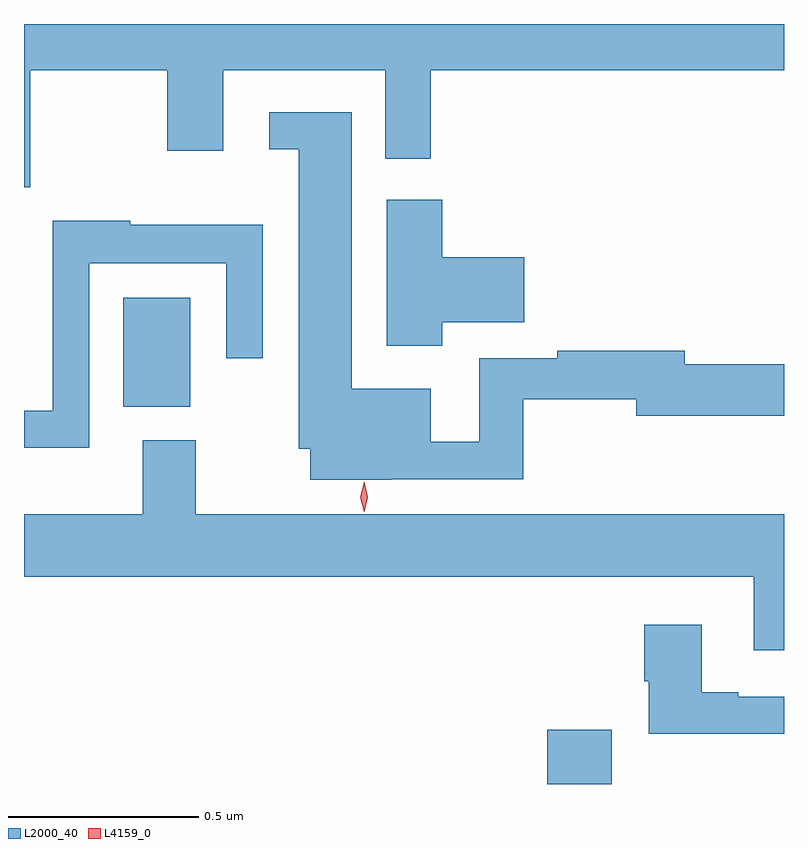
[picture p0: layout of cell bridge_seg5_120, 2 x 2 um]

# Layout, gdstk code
import gdstk
lib = gdstk.Library(unit=1e-6, precision=1e-09)
def R(c, l, rs):  # rectangles x0, y0, x1, y1
    for r in rs: c.add(gdstk.rectangle(r[:2], r[2:], *l))
def P(c, l, *ps):  # polygons
    for p in ps: c.add(gdstk.Polygon(p, *l))
L2000_40 = (2000, 40)
L4159_0 = (4159, 0)

bridge_seg5_120 = lib.new_cell('bridge_seg5_120')
R(bridge_seg5_120, L2000_40, [(472.358,908.162,472.528,908.305), (471.242,909.155,471.418,909.442)])
P(bridge_seg5_120, L2000_40, [(470.997,910.04),(471.358,910.04),(471.358,909.828),(471.505,909.828),(471.505,910.04),(471.932,910.04),(471.932,909.807),(472.051,909.807),(472.051,910.04),(472.981,910.04),(472.981,910.162),(470.981,910.162),(470.981,909.732),(470.997,909.732)],
  [(471.947,908.964),(472.295,908.964),(472.295,909.174),(472.592,909.174),(472.592,909.131),(472.981,909.131),(472.981,909.266),(472.72,909.266),(472.72,909.302),(472.384,909.302),(472.384,909.282),(472.179,909.282),(472.179,909.063),(472.051,909.063),(472.051,909.202),(471.844,909.202),(471.844,909.93),(471.627,909.93),(471.627,909.833),(471.704,909.833),(471.704,909.044),(471.734,909.044),(471.734,908.963),(471.947,908.963)],
  [(472.082,909.377),(472.297,909.377),(472.297,909.548),(472.082,909.548),(472.082,909.7),(471.935,909.7),(471.935,909.315),(472.082,909.315)],
  [(471.153,909.533),(471.513,909.533),(471.513,909.282),(471.609,909.282),(471.609,909.634),(471.26,909.634),(471.26,909.644),(471.057,909.644),(471.057,909.144),(470.981,909.144),(470.981,909.047),(471.153,909.047)],
  [(472.981,908.872),(471.433,908.872),(471.433,909.067),(471.293,909.067),(471.293,908.872),(470.981,908.872),(470.981,908.708),(472.901,908.708),(472.901,908.514),(472.981,908.514)],
  [(472.981,908.391),(472.861,908.391),(472.861,908.404),(472.765,908.404),(472.765,908.581),(472.613,908.581),(472.613,908.433),(472.625,908.433),(472.625,908.294),(472.981,908.294)])
P(bridge_seg5_120, L4159_0, [(471.876,908.877),(471.876,908.877),(471.866,908.917),(471.876,908.957),(471.876,908.957),(471.876,908.957),(471.886,908.917),(471.876,908.877)])

lib.write_gds('bridge_seg5_120.gds')
